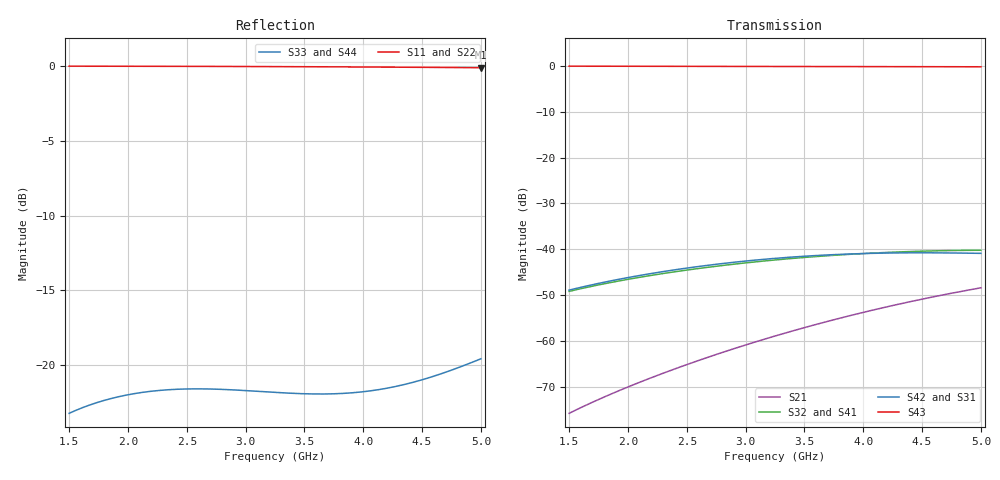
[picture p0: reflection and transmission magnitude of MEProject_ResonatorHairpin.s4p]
! Touchstone file exported from HFSS 2023.2.0
!  File:  U:/Fall 2023/Microwave Engineering/Project/MEProject.aedt
!  Generated:  6:38:29 PM  Dec 06, 2023
!  Design:  ResonatorHairpin
!  Project:  MEProject
!  Setup:  Setup1
!  Solution:  Sweep
! Variables:
!  AirboxHeight = 30mm
!  AirboxWidth = 30mm
!  BridgeR2 = 0.25
!  F1x = 16.11mm
!  FOffset = 2mm
!  FX = 0.01411mm
!  LegOffset = -0.02
!  LegR1 = 0.4378
!  Len = 23.52mm
!  MicrostripWidth = 1.78mm
!  R1x = 8.961472mm
!  R1y = 12.06mm
!  Thickness = 31mil
!  W50 = 1.85mm
!  WeakGap = 2mm
# GHz S MA R 50.000000
! Terminal data exported
! Port[1] = 1
! Port[2] = 2
! Port[3] = 3
! Port[4] = 4
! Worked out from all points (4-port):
!   1200 points, 1.5 GHz to 5 GHz, reference 50 ohm
!   strongest paths, dB at 1.5 GHz, 2.376 GHz, 3.251 GHz, 4.127 GHz, 5 GHz:
!     S43: 0.0, -0.1, -0.1, -0.1, -0.2
!     S42: -48.9, -44.6, -42.0, -40.9, -40.9
!     S31: -48.9, -44.6, -42.0, -40.9, -40.9
!     S32: -49.2, -45.0, -42.4, -40.8, -40.2
!     S41: -49.2, -45.0, -42.4, -40.8, -40.3
!     S21: -75.9, -66.4, -59.0, -53.0, -48.4
!   lowest |S11| = -0.1 dB at 5 GHz (marker M1), VSWR 159.85, Z = 0.337 + j14 ohm
!   |S11| at or under -10 dB: nowhere
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1.5  0.9995 -63.1  0.0001612 30.1  0.003569 41.6  0.003459 5.0
     0.0001612 30.1  0.9995 -62.9  0.003461 5.0  0.003571 41.7
     0.003569 41.6  0.003461 5.0  0.06894 -165.7  0.9965 -75.0
     0.003459 5.0  0.003571 41.7  0.9965 -75.0  0.06894 -165.5
2.364053  0.9985 -99.6  0.0004744 -45.5  0.005852 9.4  0.005571 -46.3
          0.0004744 -45.5  0.9985 -99.4  0.005581 -46.2  0.005862 9.5
          0.005852 9.4  0.005581 -46.2  0.08277 149.0  0.9937 -119.3
          0.005571 -46.3  0.005862 9.5  0.9937 -119.3  0.08276 149.4
2.89241  0.9973 -122.0  0.0008125 -90.0  0.007159 -11.7  0.006822 -78.6
         0.0008125 -90.0  0.9973 -121.8  0.006838 -78.6  0.007176 -11.6
         0.007159 -11.7  0.006838 -78.6  0.08259 120.2  0.9921 -147.0
         0.006822 -78.6  0.007176 -11.6  0.9921 -147.0  0.08255 120.8
3.362385  0.9959 -141.9  0.00124 -128.0  0.008121 -31.0  0.007832 -108.1
          0.00124 -128.0  0.9959 -141.7  0.007855 -108.1  0.008144 -31.0
          0.008121 -31.0  0.007855 -108.1  0.08055 94.0  0.9905 -172.0
          0.007832 -108.1  0.008144 -31.0  0.9905 -172.0  0.08048 94.8
4.100917  0.9928 -173.1  0.00219 175.1  0.008997 -61.2  0.009063 -155.7
          0.00219 175.1  0.9928 -173.1  0.009094 -155.7  0.009024 -61.2
          0.008997 -61.2  0.009094 -155.7  0.08239 52.3  0.987 148.3
          0.009063 -155.7  0.009024 -61.2  0.987 148.3  0.08225 53.3
4.570892  0.9903 167.0  0.002971 140.4  0.009099 -79.2  0.00953 173.2
          0.002971 140.4  0.9903 167.0  0.009562 173.1  0.009124 -79.1
          0.009099 -79.2  0.009562 173.1  0.091 26.2  0.984 123.0
          0.00953 173.2  0.009124 -79.1  0.984 123.0  0.09082 27.3
5  0.9876 148.8  0.003783 109.4  0.008979 -93.8  0.009698 144.2
   0.003783 109.4  0.9875 148.8  0.009731 144.1  0.009001 -93.9
   0.008979 -93.8  0.009731 144.1  0.1049 3.0  0.9805 100.1
   0.009698 144.2  0.009001 -93.9  0.9805 100.1  0.1047 4.1
